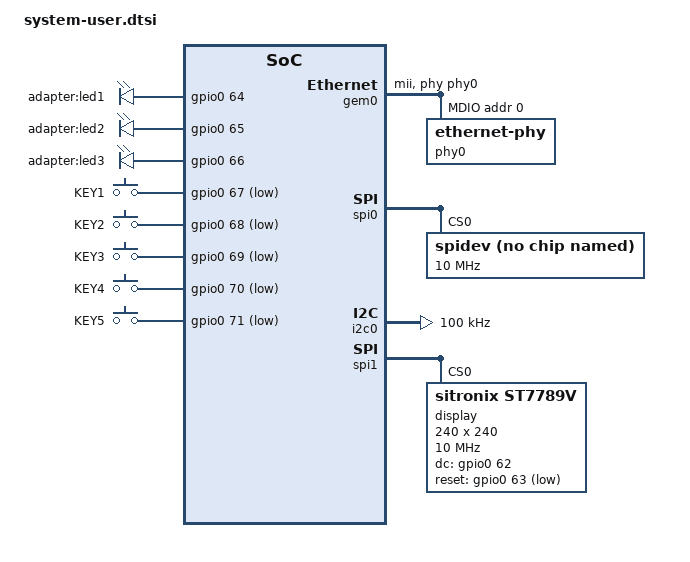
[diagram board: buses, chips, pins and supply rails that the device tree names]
/* SAdiy (session L). Base: ebaz4205_CANI2C, with the display and CAN nodes removed
 * (CAN0/CAN1/UART0 EMIO are disabled). Hardware description: session R's engine XSA
 * (zynq-ebaz/build/fpga/ebaz_sadiy.xsa): PS SPI0/SPI1, I2C0 and 18 EMIO GPIO lines.
 * The adapter's LCD (ST7789 on SPI1), LEDs and keys are at the end of this file.
 * Copy of the file in the PetaLinux project
 *   project-spec/meta-user/recipes-bsp/device-tree/files/system-user.dtsi
 * UNTESTED on hardware (written 2026-11-14).
 */

&clkc {
    /* FCLK1 is the 25 MHz PHY clock, FCLK0 the 100 MHz fabric clock */
    fclk-enable = <0xf>;
};

&gem0 {
    status = "okay";
    local-mac-address = [00 0a 35 00 1e 53];
    phy-mode = "mii";
    phy-handle = <&phy0>;

    /* PHY clock: clkc 18 is FCLK_CLK1 on the Zynq */
    assigned-clocks = <&clkc 18>;
    assigned-clock-rates = <25000000>;

    mdio {
        #address-cells = <1>;
        #size-cells = <0>;

        phy0: ethernet-phy@0 {
            /* on-board PHY, MDIO address 0 */
            reg = <0>;
            device_type = "ethernet-phy";
        };
    };
};

/* ADF4351 on PS SPI0 via EMIO: mode 0, MSB first, LE = CS0, 10 MHz.
 * Appears as /dev/spidev0.0 (bus number 0). The kernel only accepts a listed
 * compatible for spidev; rohm,dh2228fv is the usual stand-in (verify on 6.12). */
&spi0 {
    status = "okay";
    num-cs = <1>;
    bus-num = <0>;
    is-decoded-cs = <0>;

    spidev@0 {
        compatible = "rohm,dh2228fv";
        reg = <0>;
        spi-max-frequency = <10000000>;
    };
};

/* PCF8574 of the PE4302 attenuator (0x27) on PS I2C0 via EMIO: /dev/i2c-N (N = 0 on the booted image) */
&i2c0 {
    status = "okay";
    clock-frequency = <100000>;
};

/* EMIO GPIO (spare = lines 54..59, ADF4351 CE = 60, LD = 61, LCD DC/RES = 62/63,
 * LEDs 64..66, keys 67..71) is in the Zynq gpio node and needs no entry here. */

/* ---- adapter board (HelloFPGA EBAZ4205_ZJB05): LCD, LEDs, keys. Lines are 54 + EMIO n.
 * Details and the pin table: zynq-ebaz/docs/lcd-st7789.md (session R). UNTESTED on hardware. */
/* No #include of dt-bindings here: this recipe does not preprocess them (dtc failed on GPIO_ACTIVE_HIGH).
 * Numbers used: GPIO_ACTIVE_HIGH = 0, GPIO_ACTIVE_LOW = 1, KEY_1..KEY_5 = 2..6. */

/* ST7789 on PS SPI1 (EMIO): SCL R19, SDA P20, CS T20; DC = EMIO 8, RES = EMIO 9 (active low); no backlight pin.
 * fbtft (staging) makes a framebuffer: /dev/fb0 (fb1 if another framebuffer exists). The panel size is NOT KNOWN:
 * 240x240 is a guess. 240x240 modules in rotation 0 need no RAM offset; other rotations or 135x240 panels may. */
&spi1 {
    status = "okay";
    num-cs = <1>;

    display@0 {
        compatible = "sitronix,st7789v";
        reg = <0>;
        spi-max-frequency = <10000000>;
        buswidth = <8>;
        dc-gpios    = <&gpio0 62 0>;
        reset-gpios = <&gpio0 63 1>;
        width = <240>;
        height = <240>;
        rotate = <0>;
        fps = <20>;
        debug = <0>;
    };
};

/ {
    /* LED1..LED3 = EMIO 10..12. Polarity is not verified: if an LED is on at boot or inverted, change the last cell of the three lines to 1 (active low). */
    leds {
        compatible = "gpio-leds";
        adapter-led1 { label = "adapter:led1"; gpios = <&gpio0 64 0>; };
        adapter-led2 { label = "adapter:led2"; gpios = <&gpio0 65 0>; };
        adapter-led3 { label = "adapter:led3"; gpios = <&gpio0 66 0>; };
    };

    /* KEY1..KEY5 = EMIO 13..17, pad pull-up, pressed = 0. Events on /dev/input/eventN (evtest, or cat). */
    keys {
        compatible = "gpio-keys";
        key1 { label = "KEY1"; linux,code = <2>; gpios = <&gpio0 67 1>; };
        key2 { label = "KEY2"; linux,code = <3>; gpios = <&gpio0 68 1>; };
        key3 { label = "KEY3"; linux,code = <4>; gpios = <&gpio0 69 1>; };
        key4 { label = "KEY4"; linux,code = <5>; gpios = <&gpio0 70 1>; };
        key5 { label = "KEY5"; linux,code = <6>; gpios = <&gpio0 71 1>; };
    };
};

#include "system-conf.dtsi"
